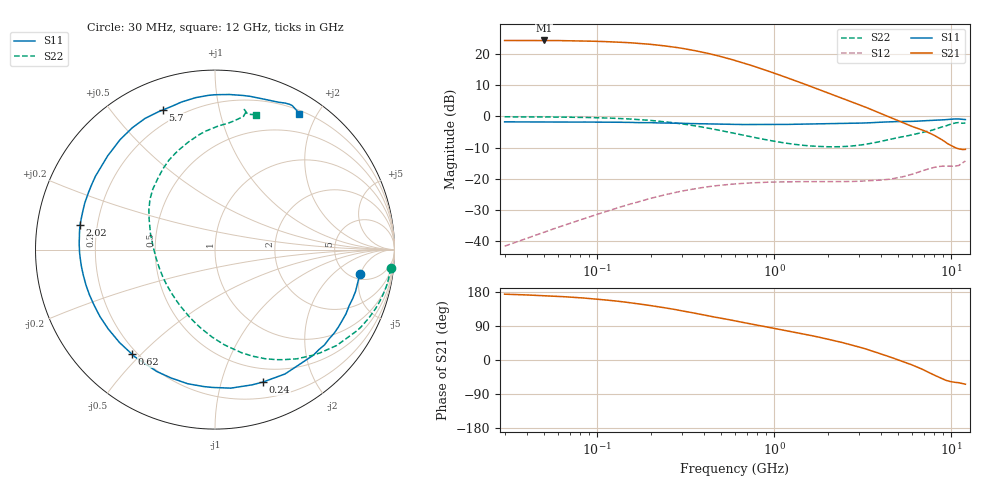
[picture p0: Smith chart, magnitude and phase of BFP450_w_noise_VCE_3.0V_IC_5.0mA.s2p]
! (c) 2015  Infineon Technologies AG, Munich
! Infineon Technologies  Discrete & RF Semiconductors
! BFP450
! VCE =  3.0 V,  IC =  5.0 mA
! Common Emitter S-Parameters:  Nov 2015
# GHz  S  MA  R  50
!  f  S11  S21  S12  S22
! GHz  MAG  ANG  MAG  ANG  MAG  ANG  MAG  ANG
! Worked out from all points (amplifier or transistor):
!   239 points, 30 MHz to 12 GHz, reference 50 ohm
!   highest |S21| = 24.3 dB at 50 MHz (marker M1)
!   |S21| within 3 dB of that: start of sweep to 336.8 MHz
!   unconditionally stable (mu >= 1): 2.461 GHz to end of sweep
!   at 300 MHz: K = 0.09, MSG = 22.9 dB, |S12| = -23.9 dB
!   at 1.88 GHz: K = 0.74, MSG = 14.5 dB, |S12| = -20.9 dB
!   at 12 GHz: K = 1.18, MAG = -0.7 dB, |S12| = -14.3 dB
!   lowest NFmin = 1.02 dB at 450 MHz
!   S11 on the Smith chart (normalised r, x): 30 MHz: 5.91, -4.88; 240 MHz: 0.36, -1.37; 620 MHz: 0.18, -0.47; 2.02 GHz: 0.13, +0.09; 5.7 GHz: 0.14, +0.69; 12 GHz: 0.25, +1.77
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0.03  0.8184 -9.6  16.38 173.7  0.0084 83.8  0.9849 -6.1
0.05  0.817 -16.4  16.41 169.6  0.014 80.6  0.9797 -10.2
0.06  0.8144 -19.5  16.34 168.0  0.0168 79.4  0.9762 -12.3
0.085  0.8121 -27.5  16.09 163.3  0.0233 75.2  0.9624 -17.3
0.115  0.8087 -36.6  15.67 157.8  0.0308 70.5  0.9412 -23.1
0.15  0.8041 -47.0  15.15 151.7  0.0389 65.5  0.9122 -29.6
0.185  0.7931 -56.5  14.47 146.1  0.0458 60.4  0.8758 -35.5
0.24  0.7848 -70.0  13.44 137.9  0.0555 53.8  0.8214 -44.4
0.3  0.7769 -83.5  12.32 129.8  0.0639 47.5  0.7609 -53.1
0.4  0.7627 -101.5  10.54 118.8  0.0734 38.8  0.6685 -65.4
0.46  0.7544 -110.3  9.623 113.3  0.0774 34.8  0.6214 -71.6
0.6  0.7459 -126.8  7.848 102.9  0.0834 27.3  0.5336 -84.3
0.62  0.7437 -128.6  7.648 101.8  0.0838 26.5  0.5236 -85.7
0.8  0.7411 -143.4  6.09 91.8  0.0874 20.3  0.4507 -99.0
1  0.7414 -155.3  4.904 83.3  0.0893 15.7  0.4001 -111.1
1.64  0.7556 179.9  2.954 63.9  0.0905 8.4  0.3356 -141.0
2.02  0.7641 169.5  2.366 54.8  0.0907 6.3  0.327 -154.8
3  0.7815 148.4  1.544 34.3  0.0918 4.4  0.3459 177.0
4.5  0.8204 124.2  0.965 7.7  0.0991 4.2  0.4296 149.0
5.7  0.8303 110.4  0.733 -9.2  0.114 3.3  0.4922 133.0
8  0.8678 84.8  0.498 -39.8  0.1531 -11.0  0.6175 103.9
12  0.8892 58.1  0.297 -63.9  0.1935 -35.0  0.7854 72.9
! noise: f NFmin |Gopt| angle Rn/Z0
0.45  1.02  0.17  79  -0.42
0.9  1.04  0.32  121  0.06
1.9  1.3  0.52  173  0.06
2.4  1.54  0.55  -171  0.06
